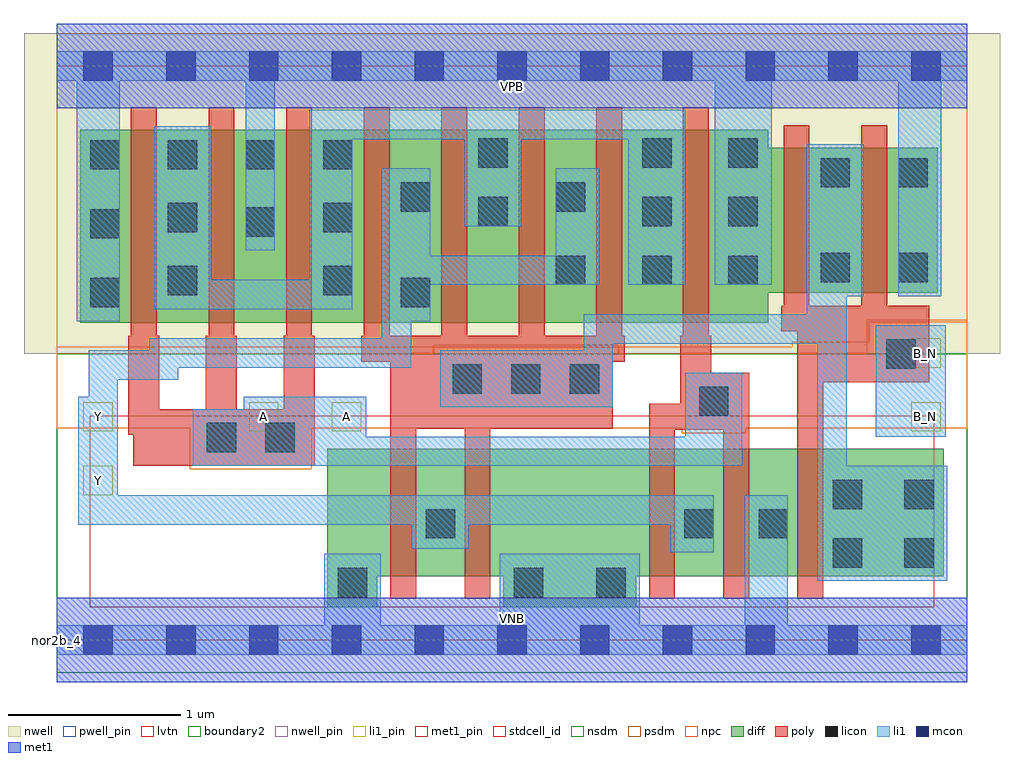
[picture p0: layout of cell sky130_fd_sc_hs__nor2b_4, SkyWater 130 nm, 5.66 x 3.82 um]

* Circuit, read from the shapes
.subckt sky130_fd_sc_hs__nor2b_4 A B_N VGND VNB VPB VPWR Y
XM1 Y n1 VGND VNB sky130_fd_pr__nfet_01v8_lvt w=0.74 l=0.15 m=2
XM2 Y A VGND VNB sky130_fd_pr__nfet_01v8_lvt w=0.74 l=0.15 m=2
XM3 n1 B_N VGND VNB sky130_fd_pr__nfet_01v8_lvt w=0.74 l=0.15
XM4 n2 A VPWR VPB sky130_fd_pr__pfet_01v8 w=1.12 l=0.15 m=4
XM5 Y n1 n2 VPB sky130_fd_pr__pfet_01v8 w=1.12 l=0.15 m=4
XM6 n1 B_N VPWR VPB sky130_fd_pr__pfet_01v8 w=0.84 l=0.15 m=2
.ends

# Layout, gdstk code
import gdstk
lib = gdstk.Library(unit=1e-6, precision=1e-09)
def R(c, l, rs):  # rectangles x0, y0, x1, y1
    for r in rs: c.add(gdstk.rectangle(r[:2], r[2:], *l))
def A(c, l, x, y, w, h, nx, ny, dx, dy):  # array of equal rectangles
    R(c, l, [(x+i*dx, y+j*dy, x+i*dx+w, y+j*dy+h) for i in range(nx) for j in range(ny)])
def P(c, l, *ps):  # polygons
    for p in ps: c.add(gdstk.Polygon(p, *l))
nwell_pin = (64, 16)
nwell = (64, 20)
diff = (65, 20)
poly = (66, 20)
licon = (66, 44)
li1_pin = (67, 16)
li1 = (67, 20)
mcon = (67, 44)
met1_pin = (68, 16)
met1 = (68, 20)
stdcell_id = (81, 4)
nsdm = (93, 44)
psdm = (94, 20)
npc = (95, 20)
pwell_pin = (122, 16)
lvtn = (125, 44)
boundary2 = (236, 0)

sky130_fd_sc_hs__nor2b_4 = lib.new_cell('sky130_fd_sc_hs__nor2b_4')
R(sky130_fd_sc_hs__nor2b_4, nwell_pin, [(0,3.085,5.28,3.33)])
R(sky130_fd_sc_hs__nor2b_4, nwell, [(-0.19,1.66,5.47,3.52)])
P(sky130_fd_sc_hs__nor2b_4, diff, [(5.11,2.855),(4.125,2.855),(4.125,2.96),(0.135,2.96),(0.135,1.84),(4.125,1.84),(4.125,2.015),(5.11,2.015)],
  [(5.145,1.11),(1.57,1.11),(1.57,0.19),(1.86,0.19),(1.86,0.37),(2.59,0.37),(2.59,0.19),(3.36,0.19),(3.36,0.37),(5.145,0.37)])
P(sky130_fd_sc_hs__nor2b_4, poly, [(1.495,1.765),(1.48,1.765),(1.48,3.09),(1.33,3.09),(1.33,1.765),(1.315,1.765),(1.315,1.34),(1.045,1.34),(1.045,1.765),(1.03,1.765),(1.03,3.09),(0.88,3.09),(0.88,1.765),(0.865,1.765),(0.865,1.34),(0.595,1.34),(0.595,1.765),(0.58,1.765),(0.58,3.09),(0.43,3.09),(0.43,1.765),(0.415,1.765),(0.415,1.19),(0.445,1.19),(0.445,1.01),(1.495,1.01)],
  [(3.295,1.765),(3.28,1.765),(3.28,3.09),(3.13,3.09),(3.13,1.765),(2.83,1.765),(2.83,3.09),(2.68,3.09),(2.68,1.765),(2.38,1.765),(2.38,3.09),(2.23,3.09),(2.23,1.765),(1.93,1.765),(1.93,3.09),(1.78,3.09),(1.78,1.765),(1.765,1.765),(1.765,1.615),(1.935,1.615),(1.935,0.24),(2.085,0.24),(2.085,1.225),(2.365,1.225),(2.365,0.24),(2.515,0.24),(2.515,1.225),(3.225,1.225),(3.225,1.615),(3.295,1.615)],
  [(4.015,1.55),(3.795,1.55),(3.795,1.765),(3.78,1.765),(3.78,3.09),(3.63,3.09),(3.63,1.765),(3.615,1.765),(3.615,1.37),(3.435,1.37),(3.435,0.24),(3.585,0.24),(3.585,1.22),(3.865,1.22),(3.865,0.24),(4.015,0.24)],
  [(5.06,1.94),(4.815,1.94),(4.815,2.985),(4.665,2.985),(4.665,1.94),(4.365,1.94),(4.365,2.985),(4.215,2.985),(4.215,1.94),(4.2,1.94),(4.2,1.79),(4.295,1.79),(4.295,0.24),(4.445,0.24),(4.445,1.495),(5.06,1.495)])
A(sky130_fd_sc_hs__nor2b_4, licon, 2.295, 1.43, 0.17, 0.17, 3, 1, 0.34, 0)
A(sky130_fd_sc_hs__nor2b_4, licon, 2.895, 2.06, 0.17, 0.17, 3, 1, 0.5, 0)
A(sky130_fd_sc_hs__nor2b_4, licon, 0.195, 2.73, 0.17, 0.17, 4, 1, 0.45, 0)
R(sky130_fd_sc_hs__nor2b_4, licon, [(1.63,0.25,1.8,0.42), (2.65,0.25,2.82,0.42), (3.13,0.25,3.3,0.42), (4.5,0.42,4.67,0.59), (4.915,0.42,5.085,0.59), (2.14,0.59,2.31,0.76), (3.64,0.59,3.81,0.76), (4.07,0.59,4.24,0.76), (4.5,0.76,4.67,0.93), (4.915,0.76,5.085,0.93), (0.87,1.09,1.04,1.26), (1.21,1.09,1.38,1.26), (3.725,1.3,3.895,1.47), (4.81,1.575,4.98,1.745), (0.195,1.93,0.365,2.1), (1.995,1.93,2.165,2.1), (0.645,2,0.815,2.17), (1.545,2,1.715,2.17), (4.43,2.075,4.6,2.245), (4.88,2.075,5.05,2.245), (0.195,2.33,0.365,2.5), (1.095,2.34,1.265,2.51), (0.645,2.365,0.815,2.535), (1.545,2.365,1.715,2.535), (2.445,2.4,2.615,2.57), (3.395,2.4,3.565,2.57), (3.895,2.4,4.065,2.57), (1.995,2.485,2.165,2.655), (2.895,2.485,3.065,2.655), (4.43,2.625,4.6,2.795), (4.88,2.625,5.05,2.795), (2.445,2.74,2.615,2.91), (3.395,2.74,3.565,2.91), (3.895,2.74,4.065,2.91)])
R(sky130_fd_sc_hs__nor2b_4, li1_pin, [(0.155,0.84,0.325,1.01), (0.155,1.21,0.325,1.38), (1.115,1.21,1.285,1.38), (1.595,1.21,1.765,1.38), (4.955,1.21,5.125,1.38), (4.955,1.58,5.125,1.75)])
R(sky130_fd_sc_hs__nor2b_4, li1, [(4.75,1.18,5.155,1.825)])
P(sky130_fd_sc_hs__nor2b_4, li1, [(0,-0.085),(0,0.085),(1.55,0.085),(1.55,0.5),(1.88,0.5),(1.88,0.085),(2.57,0.085),(2.57,0.5),(3.38,0.5),(3.38,0.085),(3.99,0.085),(3.99,0.84),(4.24,0.84),(4.24,0.085),(5.28,0.085),(5.28,-0.085)],
  [(0,3.245),(0,3.415),(5.28,3.415),(5.28,3.245),(5.13,3.245),(5.13,1.995),(4.88,1.995),(4.88,3.245),(4.145,3.245),(4.145,2.06),(3.815,2.06),(3.815,3.245),(1.265,3.245),(1.265,2.26),(1.095,2.26),(1.095,3.245),(0.365,3.245),(0.365,1.85),(0.115,1.85),(0.115,3.245)],
  [(1.795,1.18),(3.645,1.18),(3.645,1.55),(3.975,1.55),(3.975,1.01),(0.79,1.01),(0.79,1.34),(1.085,1.34),(1.085,1.41),(1.795,1.41)],
  [(0.125,0.67),(0.125,1.41),(0.185,1.41),(0.185,1.68),(0.535,1.68),(0.535,1.75),(1.885,1.75),(1.885,2.735),(2.165,2.735),(2.165,2.23),(2.895,2.23),(2.895,2.735),(3.145,2.735),(3.145,2.06),(2.165,2.06),(2.165,1.85),(2.055,1.85),(2.055,1.58),(0.705,1.58),(0.705,1.51),(0.355,1.51),(0.355,0.84),(3.81,0.84),(3.81,0.51),(3.56,0.51),(3.56,0.67),(2.39,0.67),(2.39,0.53),(2.06,0.53),(2.06,0.67)],
  [(4.41,0.345),(4.41,1.72),(3.225,1.72),(3.225,1.35),(2.225,1.35),(2.225,1.68),(3.055,1.68),(3.055,1.89),(4.35,1.89),(4.35,2.875),(4.68,2.875),(4.68,1.995),(4.58,1.995),(4.58,1.01),(5.165,1.01),(5.165,0.345)],
  [(3.315,2.905),(2.695,2.905),(2.695,2.4),(2.365,2.4),(2.365,2.905),(1.715,2.905),(1.715,1.92),(0.565,1.92),(0.565,2.98),(0.895,2.98),(0.895,2.09),(1.465,2.09),(1.465,3.075),(3.645,3.075),(3.645,2.06),(3.315,2.06)])
A(sky130_fd_sc_hs__nor2b_4, mcon, 0.155, -0.085, 0.17, 0.17, 11, 2, 0.48, 3.33)
R(sky130_fd_sc_hs__nor2b_4, met1_pin, [(0,0,5.28,0.245), (0,3.085,5.28,3.33)])
R(sky130_fd_sc_hs__nor2b_4, met1, [(0,-0.245,5.28,0.245), (0,3.085,5.28,3.575)])
R(sky130_fd_sc_hs__nor2b_4, stdcell_id, [(0,0,5.28,3.33)])
R(sky130_fd_sc_hs__nor2b_4, nsdm, [(0,-0.19,5.28,1.66)])
P(sky130_fd_sc_hs__nor2b_4, psdm, [(5.28,3.52),(0,3.52),(0,1.66),(2.185,1.66),(2.185,1.71),(3.255,1.71),(3.255,1.66),(4.7,1.66),(4.7,1.855),(5.28,1.855)])
P(sky130_fd_sc_hs__nor2b_4, npc, [(5.28,1.845),(4.71,1.845),(4.71,1.73),(4.265,1.73),(4.265,1.7),(0,1.7),(0,1.23),(0.77,1.23),(0.77,0.99),(1.48,0.99),(1.48,1.23),(3.625,1.23),(3.625,1.2),(3.995,1.2),(3.995,1.23),(5.28,1.23)])
R(sky130_fd_sc_hs__nor2b_4, pwell_pin, [(0,0,5.28,0.245)])
R(sky130_fd_sc_hs__nor2b_4, lvtn, [(0.19,0.19,5.09,1.3)])
R(sky130_fd_sc_hs__nor2b_4, boundary2, [(0,0,5.28,3.33)])
sky130_fd_sc_hs__nor2b_4.add(gdstk.Label('nor2b_4', (0,0), layer=83, texttype=44))
sky130_fd_sc_hs__nor2b_4.add(gdstk.Label('VNB', (2.64,0.123), layer=64, texttype=59))
sky130_fd_sc_hs__nor2b_4.add(gdstk.Label('VPB', (2.64,3.208), layer=64, texttype=5))
sky130_fd_sc_hs__nor2b_4.add(gdstk.Label('VPWR', (2.64,3.208), layer=68, texttype=5))
sky130_fd_sc_hs__nor2b_4.add(gdstk.Label('VGND', (2.64,0.123), layer=68, texttype=5))
sky130_fd_sc_hs__nor2b_4.add(gdstk.Label('A', (1.2,1.295), layer=67, texttype=5))
sky130_fd_sc_hs__nor2b_4.add(gdstk.Label('A', (1.68,1.295), layer=67, texttype=5))
sky130_fd_sc_hs__nor2b_4.add(gdstk.Label('B_N', (5.04,1.295), layer=67, texttype=5))
sky130_fd_sc_hs__nor2b_4.add(gdstk.Label('B_N', (5.04,1.665), layer=67, texttype=5))
sky130_fd_sc_hs__nor2b_4.add(gdstk.Label('Y', (0.24,0.925), layer=67, texttype=5))
sky130_fd_sc_hs__nor2b_4.add(gdstk.Label('Y', (0.24,1.295), layer=67, texttype=5))

lib.write_gds('sky130_fd_sc_hs__nor2b_4.gds')
